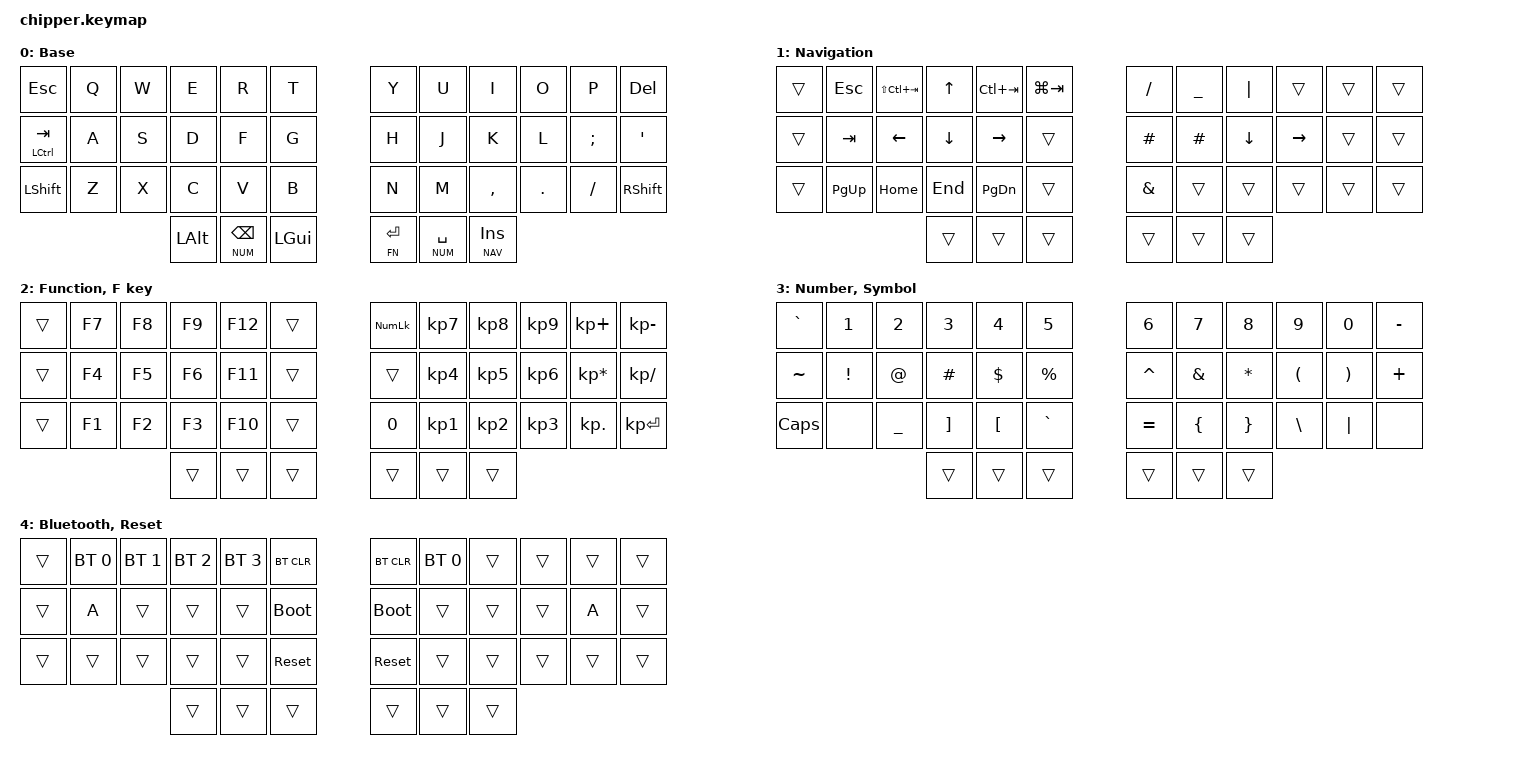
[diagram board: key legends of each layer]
#include <behaviors.dtsi>
#include <dt-bindings/zmk/keys.h>
#include <dt-bindings/zmk/bt.h>
#include <dt-bindings/zmk/outputs.h>

#define XXX &none
//#define ___ &trans

#define COMBO_TIMEOUT 60

#define DEF 0
#define NAV 1
#define FN 2
#define NUM 3
#define SYS 4

/ {
    macros {
	nayeon: nayeon {
            compatible = "zmk,behavior-macro";
            #binding-cells = <0>;
            bindings
                = <&macro_tap_time 10>
		,<&macro_tap &kp N &kp A &kp Y &kp E &kp O &kp N &kp RET>;
        };
    };
};

/ {
    combos {
        compatible = "zmk,combos";
	 combo_cw {
            timeout-ms = <COMBO_TIMEOUT>;
            key-positions = <6 30>;
            bindings = <&nayeon>;
        };
    };
};

/ {
        bht: balanced_hold_taps {
            compatible = "zmk,behavior-hold-tap";
            #binding-cells = <2>;
            tapping-term-ms = <280>;    // <---[[moderate duration]]
            flavor = "balanced";
            bindings = <&kp>, <&kp>;
            quick-tap-ms = <175>;       // repeat on tap-into-hold
            require-prior-idle-ms = <150>;
        };
    };
/ {
    conditional_layers {
        compatible = "zmk,conditional-layers";
        tri_layer {
            if-layers = <1 2>;
            then-layer = <4>;
        };
    };
};

/ {
        keymap {
                compatible = "zmk,keymap";

                DEF_layer {
                        display-name = "Base";
                        bindings = <
//                                                             |
&kp ESC           &kp Q    &kp W    &kp E    &kp R    &kp T         &kp Y    &kp U    &kp I        &kp O         &kp P            &kp DEL
&bht LCTRL TAB    &kp A    &kp S    &kp D    &kp F    &kp G         &kp H    &kp J    &kp K        &kp L         &kp SEMICOLON    &kp APOSTROPHE
&kp LSHFT         &kp Z    &kp X    &kp C    &kp V    &kp B         &kp N    &kp M    &kp COMMA    &kp PERIOD    &kp SLASH        &kp RSHFT
                       &kp LALT    &lt NUM BSPC    &kp LGUI         &lt FN ENTER     &lt NUM SPC    &lt NAV INS
                        >;
                };

                

                NAV_layer {
                        display-name = "Navigation";
                        bindings = <
//                                                                                  |
&trans    &kp ESC      &kp LS(LC(TAB))    &kp UP      &kp LC(TAB)    &kp LG(TAB)         &kp FSLH    &kp UNDER    &kp PIPE    &trans       &trans    &trans
&trans    &kp TAB      &kp LEFT           &kp DOWN    &kp RIGHT      &trans              &kp HASH    &kp HASH     &kp DOWN    &kp RIGHT    &trans    &trans
&trans    &kp PG_UP    &kp HOME           &kp END     &kp PG_DN      &trans              &kp AMPS    &trans       &trans      &trans       &trans    &trans
                                                      &trans    &trans    &trans         &trans      &trans       &trans
                        >;
                };

                FN_layer {
                        display-name = "Function, F key";
                        bindings = <
//                                                           |
&trans    &kp F7    &kp F8    &kp F9    &kp F12    &trans         &kp KP_NLCK    &kp KP_N7    &kp KP_N8    &kp KP_N9    &kp KP_PLUS        &kp KP_MINUS
&trans    &kp F4    &kp F5    &kp F6    &kp F11    &trans         &trans         &kp KP_N4    &kp KP_N5    &kp KP_N6    &kp KP_MULTIPLY    &kp KP_DIVIDE
&trans    &kp F1    &kp F2    &kp F3    &kp F10    &trans         &kp N0         &kp KP_N1    &kp KP_N2    &kp KP_N3    &kp KP_DOT         &kp KP_ENTER
                               &trans    &trans    &trans         &trans    &trans    &trans                                     
                        >;
		};
		
		        NUM_layer {
                        display-name = "Number, Symbol";
                        bindings = <
//                                                                         |
&kp GRAVE    &kp N1       &kp N2      &kp N3      &kp N4      &kp N5            &kp N6       &kp N7      &kp N8      &kp N9           &kp N0      &kp MINUS
&kp TILDE    &kp EXCL     &kp AT      &kp HASH    &kp DLLR    &kp PRCNT         &kp CARET    &kp AMPS    &kp STAR    &kp LPAR         &kp RPAR    &kp PLUS
&kp CLCK     &none        &kp UNDER   &kp RBKT    &kp LBKT    &kp GRAVE         &kp EQUAL    &kp LBRC    &kp RBRC    &kp BACKSLASH    &kp PIPE    &none
                                         &trans    &trans     &trans            &trans    &trans    &trans                                    
                        >;
		};

                        		SYS_layer {
                        display-name = "Bluetooth, Reset";
                        bindings = <
    &trans    &bt BT_SEL 0   &bt BT_SEL 1  &bt BT_SEL 2  &bt BT_SEL 3   &bt BT_CLR       &bt BT_CLR    &bt BT_SEL 0  &trans           &trans           &trans             &trans
    &trans     &kp A         &trans           &trans           &trans            &bootloader      &bootloader   &trans           &trans           &trans           &kp A           &trans
    &trans     &trans           &trans           &trans           &trans            &sys_reset       &sys_reset    &trans           &trans           &trans           &trans             &trans
    &trans                                                &trans           &trans              &trans           &trans                                                       &trans
                        >;
		};

        };
};
